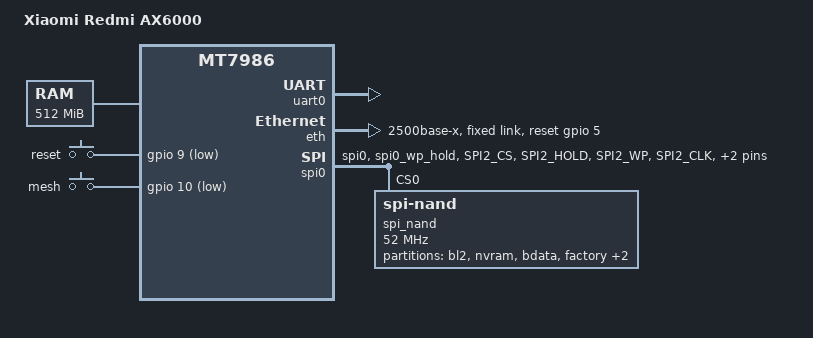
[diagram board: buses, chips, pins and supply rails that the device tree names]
// SPDX-License-Identifier: GPL-2.0
/*
 * Copyright (c) 2021 MediaTek Inc.
 * Author: Sam Shih <sam.shih@mediatek.com>
 */

/dts-v1/;
#include <dt-bindings/input/linux-event-codes.h>
#include "mt7986.dtsi"
#include <dt-bindings/gpio/gpio.h>

/ {
	#address-cells = <1>;
	#size-cells = <1>;
	model = "Xiaomi Redmi AX6000";
	compatible = "mediatek,mt7986", "mediatek,mt7986-sd-rfb";

	chosen {
		stdout-path = &uart0;
		tick-timer = &timer0;
	};

	memory@40000000 {
		device_type = "memory";
		reg = <0x40000000 0x20000000>;
	};

	keys {
		compatible = "gpio-keys";
		factory {
			label = "reset";
			gpios = <&gpio 9 GPIO_ACTIVE_LOW>;
			linux,code = <KEY_RESTART>;
		};
		mesh {
			label = "mesh";
			gpios = <&gpio 10 GPIO_ACTIVE_LOW>;
			linux,code = <KEY_WPS_BUTTON>;
		};
	};
};

&uart0 {
	mediatek,force-highspeed;
	status = "okay";
};

&uart1 {
	pinctrl-names = "default";
	pinctrl-0 = <&uart1_pins>;
	status = "disabled";
};

&eth {
	status = "okay";
	mediatek,gmac-id = <0>;
	phy-mode = "2500base-x";
	mediatek,switch = "mt7531";
	reset-gpios = <&gpio 5 GPIO_ACTIVE_HIGH>;

	fixed-link {
		speed = <2500>;
		full-duplex;
	};
};

&pinctrl {
	spic_pins: spi1-pins-func-1 {
		mux {
			function = "spi";
			groups = "spi1_2";
		};
	};

	uart1_pins: spi1-pins-func-3 {
		mux {
			function = "uart";
			groups = "uart1_2";
		};
	};

	spi_flash_pins: spi0-pins-func-1 {
		mux {
			function = "flash";
			groups = "spi0", "spi0_wp_hold";
		};

		conf-pu {
			pins = "SPI2_CS", "SPI2_HOLD", "SPI2_WP";
			drive-strength = <MTK_DRIVE_8mA>;
			bias-pull-up = <MTK_PUPD_SET_R1R0_00>;
		};

		conf-pd {
			pins = "SPI2_CLK", "SPI2_MOSI", "SPI2_MISO";
			drive-strength = <MTK_DRIVE_8mA>;
			bias-pull-down = <MTK_PUPD_SET_R1R0_00>;
		};
	};
};

&spi0 {
	#address-cells = <1>;
	#size-cells = <0>;
	pinctrl-names = "default";
	pinctrl-0 = <&spi_flash_pins>;
	status = "okay";
	must_tx;
	enhance_timing;
	dma_ext;
	ipm_design;
	support_quad;
	tick_dly = <1>;
	sample_sel = <0>;

	spi_nand@0 {
		compatible = "spi-nand";
		reg = <0>;
		spi-max-frequency = <52000000>;

		partitions {
			compatible = "fixed-partitions";
			#address-cells = <1>;
			#size-cells = <1>;

			partition@0 {
				label = "bl2";
				reg = <0x0 0x80000>;
			};

			partition@100000 {
				label = "nvram";
				reg = <0x100000 0x40000>;
			};

			partition@140000 {
				label = "bdata";
				reg = <0x140000 0x40000>;
			};

			partition@180000 {
				label = "factory";
				reg = <0x180000 0x200000>;
			};

			partition@380000 {
				label = "fip";
				reg = <0x380000 0x200000>;
			};

			partition@600000 {
				label = "ubi";
				reg = <0x580000 0x7a80000>;
			};
		};
	};
};

&watchdog {
	status = "disabled";
};
